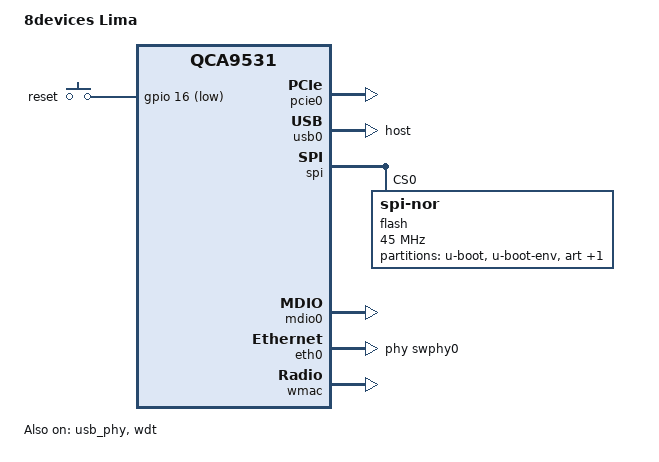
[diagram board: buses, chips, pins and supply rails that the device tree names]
// SPDX-License-Identifier: GPL-2.0-or-later OR MIT

#include "qca953x.dtsi"

#include <dt-bindings/gpio/gpio.h>
#include <dt-bindings/input/input.h>

/ {
	compatible = "8dev,lima", "qca,qca9531";
	model = "8devices Lima";

	keys {
		compatible = "gpio-keys";

		reset {
			label = "reset";
			linux,code = <KEY_RESTART>;
			gpios = <&gpio 16 GPIO_ACTIVE_LOW>;
		};
	};
};

&pcie0 {
	status = "okay";
};

&usb0 {
	status = "okay";

	dr_mode = "host";
};

&usb_phy {
	status = "okay";
};

&wdt {
	status = "okay";
};

&spi {
	status = "okay";

	/* Winbond W25Q256 SPI flash */
	flash@0 {
		compatible = "jedec,spi-nor";
		reg = <0>;
		spi-max-frequency = <45000000>;

		partitions {
			compatible = "fixed-partitions";
			#address-cells = <1>;
			#size-cells = <1>;

			partition@0 {
				label = "u-boot";
				reg = <0x000000 0x040000>;
				read-only;
			};

			partition@40000 {
				label = "u-boot-env";
				reg = <0x040000 0x040000>;
			};

			art: partition@80000 {
				label = "art";
				reg = <0x080000 0x040000>;
				read-only;
			};

			partition@c0000 {
				compatible = "denx,uimage";
				label = "firmware";
				reg = <0x0c0000 0xf40000>;
			};
		};
	};
};

&mdio0 {
	status = "okay";
};

&eth0 {
	status = "okay";

	phy-handle = <&swphy0>;

	nvmem-cells = <&macaddr_art_6>;
	nvmem-cell-names = "mac-address";

	gmac-config {
		device = <&gmac>;

		switch-phy-addr-swap = <1>;
		switch-phy-swap = <1>;
	};
};

&eth1 {
	nvmem-cells = <&macaddr_art_0>;
	nvmem-cell-names = "mac-address";
};

&wmac {
	status = "okay";

	mtd-cal-data = <&art 0x1000>;
};

&art {
	compatible = "nvmem-cells";
	#address-cells = <1>;
	#size-cells = <1>;

	macaddr_art_0: macaddr@0 {
		reg = <0x0 0x6>;
	};

	macaddr_art_6: macaddr@6 {
		reg = <0x6 0x6>;
	};
};
